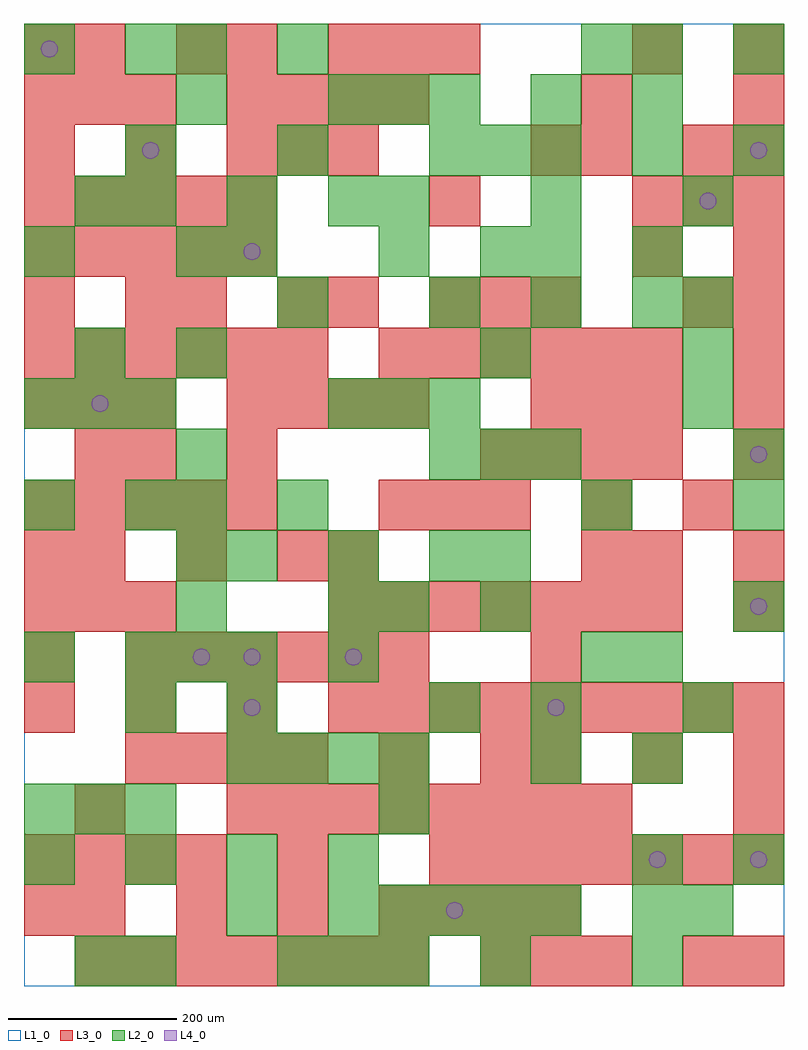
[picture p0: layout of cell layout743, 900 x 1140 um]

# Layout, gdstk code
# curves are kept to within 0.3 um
import gdstk
lib = gdstk.Library(unit=1e-6, precision=1e-09)
def R(c, l, rs):  # rectangles x0, y0, x1, y1
    for r in rs: c.add(gdstk.rectangle(r[:2], r[2:], *l))
def A(c, l, x, y, w, h, nx, ny, dx, dy):  # array of equal rectangles
    R(c, l, [(x+i*dx, y+j*dy, x+i*dx+w, y+j*dy+h) for i in range(nx) for j in range(ny)])
def P(c, l, *ps):  # polygons
    for p in ps: c.add(gdstk.Polygon(p, *l))
L1_0 = (1, 0)
L2_0 = (2, 0)
L3_0 = (3, 0)
L4_0 = (4, 0)

layout743 = lib.new_cell('layout743')
R(layout743, L1_0, [(0,0,900,1140)])
A(layout743, L2_0, 300, 0, 60, 60, 3, 1, 60, 0)
A(layout743, L2_0, 720, 0, 60, 60, 1, 3, 0, 60)
A(layout743, L2_0, 360, 60, 60, 60, 5, 1, 60, 0)
A(layout743, L2_0, 0, 120, 60, 60, 4, 1, 120, 0)
A(layout743, L2_0, 0, 180, 60, 60, 3, 2, 60, 480)
A(layout743, L2_0, 240, 240, 60, 60, 4, 1, 60, 0)
A(layout743, L2_0, 120, 360, 60, 60, 3, 1, 60, 0)
A(layout743, L2_0, 180, 420, 60, 60, 1, 4, 0, 60)
A(layout743, L2_0, 240, 480, 60, 60, 3, 1, 120, 0)
A(layout743, L2_0, 480, 600, 60, 60, 3, 1, 60, 0)
A(layout743, L2_0, 360, 660, 60, 60, 3, 2, 60, 360)
A(layout743, L2_0, 780, 660, 60, 60, 1, 3, 0, 60)
A(layout743, L2_0, 540, 720, 60, 60, 1, 3, 0, 120)
A(layout743, L2_0, 480, 780, 60, 60, 3, 1, 120, 0)
A(layout743, L2_0, 120, 900, 60, 60, 3, 1, 120, 0)
A(layout743, L2_0, 420, 900, 60, 60, 3, 1, 180, 0)
A(layout743, L2_0, 120, 960, 60, 60, 3, 1, 180, 0)
A(layout743, L2_0, 600, 960, 60, 60, 3, 1, 120, 0)
R(layout743, L2_0, [(60,0,120,60), (120,0,180,60), (540,0,600,60), (240,60,300,120), (780,60,840,120), (840,120,900,180), (420,180,480,240), (600,240,660,300), (720,240,780,300), (120,300,180,360), (240,300,300,360), (480,300,540,360), (600,300,660,360), (780,300,840,360), (0,360,60,420), (360,360,420,420), (660,360,720,420), (720,360,780,420), (360,420,420,480), (420,420,480,480), (540,420,600,480), (840,420,900,480), (540,480,600,540), (0,540,60,600), (120,540,180,600), (300,540,360,600), (660,540,720,600), (840,540,900,600), (840,600,900,660), (60,720,120,780), (180,720,240,780), (300,780,360,840), (0,840,60,900), (180,840,240,900), (240,840,300,900), (420,840,480,900), (600,840,660,900), (720,840,780,900), (60,900,120,960), (180,1020,240,1080), (600,1020,660,1080), (720,1020,780,1080), (0,1080,60,1140), (120,1080,180,1140), (180,1080,240,1140), (300,1080,360,1140), (660,1080,720,1140), (720,1080,780,1140), (840,1080,900,1140)])
A(layout743, L3_0, 60, 0, 60, 60, 7, 1, 60, 0)
A(layout743, L3_0, 540, 0, 60, 60, 3, 1, 60, 0)
A(layout743, L3_0, 60, 60, 60, 60, 4, 1, 120, 0)
A(layout743, L3_0, 480, 60, 60, 60, 3, 2, 60, 720)
A(layout743, L3_0, 0, 120, 60, 60, 4, 1, 60, 0)
A(layout743, L3_0, 480, 120, 60, 60, 7, 1, 60, 0)
A(layout743, L3_0, 240, 180, 60, 60, 8, 1, 60, 0)
A(layout743, L3_0, 120, 240, 60, 60, 4, 1, 60, 0)
A(layout743, L3_0, 600, 240, 60, 60, 3, 1, 120, 0)
A(layout743, L3_0, 0, 300, 60, 60, 4, 1, 120, 0)
A(layout743, L3_0, 420, 300, 60, 60, 8, 1, 60, 0)
A(layout743, L3_0, 120, 360, 60, 60, 6, 1, 60, 0)
A(layout743, L3_0, 0, 420, 60, 60, 3, 2, 60, 240)
A(layout743, L3_0, 360, 420, 60, 60, 7, 1, 60, 0)
A(layout743, L3_0, 0, 480, 60, 60, 1, 3, 0, 300)
A(layout743, L3_0, 60, 480, 60, 60, 3, 1, 120, 0)
A(layout743, L3_0, 0, 540, 60, 60, 5, 2, 60, 300)
A(layout743, L3_0, 420, 540, 60, 60, 3, 1, 60, 0)
A(layout743, L3_0, 540, 600, 60, 60, 4, 1, 60, 0)
A(layout743, L3_0, 840, 600, 60, 60, 1, 5, 0, 60)
A(layout743, L3_0, 240, 660, 60, 60, 4, 2, 60, 360)
A(layout743, L3_0, 600, 660, 60, 60, 3, 1, 60, 0)
A(layout743, L3_0, 0, 720, 60, 60, 6, 1, 60, 0)
A(layout743, L3_0, 420, 720, 60, 60, 6, 1, 60, 0)
A(layout743, L3_0, 0, 900, 60, 60, 5, 1, 60, 0)
A(layout743, L3_0, 720, 900, 60, 60, 3, 1, 60, 0)
A(layout743, L3_0, 0, 960, 60, 60, 3, 1, 120, 0)
A(layout743, L3_0, 840, 960, 60, 60, 1, 3, 0, 60)
A(layout743, L3_0, 0, 1020, 60, 60, 3, 1, 60, 0)
A(layout743, L3_0, 360, 1080, 60, 60, 3, 1, 60, 0)
R(layout743, L3_0, [(780,0,840,60), (840,0,900,60), (0,60,60,120), (300,120,360,180), (60,180,120,240), (840,180,900,240), (420,240,480,300), (540,240,600,300), (0,360,60,420), (600,360,660,420), (840,420,900,480), (360,480,420,540), (660,480,720,540), (720,480,780,540), (840,480,900,540), (660,540,720,600), (780,540,840,600), (60,600,120,660), (120,600,180,660), (240,600,300,660), (120,780,180,840), (180,780,240,840), (300,780,360,840), (360,780,420,840), (780,780,840,840), (720,840,780,900), (480,900,540,960), (300,960,360,1020), (360,960,420,1020), (600,960,660,1020), (660,960,720,1020), (780,960,840,1020), (660,1020,720,1080), (60,1080,120,1140), (180,1080,240,1140), (240,1080,300,1140), (720,1080,780,1140)])
P(layout743, L4_0, [(40,1110),(39.239,1113.827),(37.071,1117.071),(33.827,1119.239),(30,1120),(26.173,1119.239),(22.929,1117.071),(20.761,1113.827),(20,1110),(20.761,1106.173),(22.929,1102.929),(26.173,1100.761),(30,1100),(33.827,1100.761),(37.071,1102.929),(39.239,1106.173)],
  [(100,690),(99.239,693.827),(97.071,697.071),(93.827,699.239),(90,700),(86.173,699.239),(82.929,697.071),(80.761,693.827),(80,690),(80.761,686.173),(82.929,682.929),(86.173,680.761),(90,680),(93.827,680.761),(97.071,682.929),(99.239,686.173)],
  [(160,990),(159.239,993.827),(157.071,997.071),(153.827,999.239),(150,1000),(146.173,999.239),(142.929,997.071),(140.761,993.827),(140,990),(140.761,986.173),(142.929,982.929),(146.173,980.761),(150,980),(153.827,980.761),(157.071,982.929),(159.239,986.173)],
  [(220,390),(219.239,393.827),(217.071,397.071),(213.827,399.239),(210,400),(206.173,399.239),(202.929,397.071),(200.761,393.827),(200,390),(200.761,386.173),(202.929,382.929),(206.173,380.761),(210,380),(213.827,380.761),(217.071,382.929),(219.239,386.173)],
  [(280,330),(279.239,333.827),(277.071,337.071),(273.827,339.239),(270,340),(266.173,339.239),(262.929,337.071),(260.761,333.827),(260,330),(260.761,326.173),(262.929,322.929),(266.173,320.761),(270,320),(273.827,320.761),(277.071,322.929),(279.239,326.173)],
  [(280,390),(279.239,393.827),(277.071,397.071),(273.827,399.239),(270,400),(266.173,399.239),(262.929,397.071),(260.761,393.827),(260,390),(260.761,386.173),(262.929,382.929),(266.173,380.761),(270,380),(273.827,380.761),(277.071,382.929),(279.239,386.173)],
  [(280,870),(279.239,873.827),(277.071,877.071),(273.827,879.239),(270,880),(266.173,879.239),(262.929,877.071),(260.761,873.827),(260,870),(260.761,866.173),(262.929,862.929),(266.173,860.761),(270,860),(273.827,860.761),(277.071,862.929),(279.239,866.173)],
  [(400,390),(399.239,393.827),(397.071,397.071),(393.827,399.239),(390,400),(386.173,399.239),(382.929,397.071),(380.761,393.827),(380,390),(380.761,386.173),(382.929,382.929),(386.173,380.761),(390,380),(393.827,380.761),(397.071,382.929),(399.239,386.173)],
  [(520,90),(519.239,93.827),(517.071,97.071),(513.827,99.239),(510,100),(506.173,99.239),(502.929,97.071),(500.761,93.827),(500,90),(500.761,86.173),(502.929,82.929),(506.173,80.761),(510,80),(513.827,80.761),(517.071,82.929),(519.239,86.173)],
  [(640,330),(639.239,333.827),(637.071,337.071),(633.827,339.239),(630,340),(626.173,339.239),(622.929,337.071),(620.761,333.827),(620,330),(620.761,326.173),(622.929,322.929),(626.173,320.761),(630,320),(633.827,320.761),(637.071,322.929),(639.239,326.173)],
  [(760,150),(759.239,153.827),(757.071,157.071),(753.827,159.239),(750,160),(746.173,159.239),(742.929,157.071),(740.761,153.827),(740,150),(740.761,146.173),(742.929,142.929),(746.173,140.761),(750,140),(753.827,140.761),(757.071,142.929),(759.239,146.173)],
  [(820,930),(819.239,933.827),(817.071,937.071),(813.827,939.239),(810,940),(806.173,939.239),(802.929,937.071),(800.761,933.827),(800,930),(800.761,926.173),(802.929,922.929),(806.173,920.761),(810,920),(813.827,920.761),(817.071,922.929),(819.239,926.173)],
  [(880,150),(879.239,153.827),(877.071,157.071),(873.827,159.239),(870,160),(866.173,159.239),(862.929,157.071),(860.761,153.827),(860,150),(860.761,146.173),(862.929,142.929),(866.173,140.761),(870,140),(873.827,140.761),(877.071,142.929),(879.239,146.173)],
  [(880,450),(879.239,453.827),(877.071,457.071),(873.827,459.239),(870,460),(866.173,459.239),(862.929,457.071),(860.761,453.827),(860,450),(860.761,446.173),(862.929,442.929),(866.173,440.761),(870,440),(873.827,440.761),(877.071,442.929),(879.239,446.173)],
  [(880,630),(879.239,633.827),(877.071,637.071),(873.827,639.239),(870,640),(866.173,639.239),(862.929,637.071),(860.761,633.827),(860,630),(860.761,626.173),(862.929,622.929),(866.173,620.761),(870,620),(873.827,620.761),(877.071,622.929),(879.239,626.173)],
  [(880,990),(879.239,993.827),(877.071,997.071),(873.827,999.239),(870,1000),(866.173,999.239),(862.929,997.071),(860.761,993.827),(860,990),(860.761,986.173),(862.929,982.929),(866.173,980.761),(870,980),(873.827,980.761),(877.071,982.929),(879.239,986.173)])

lib.write_gds('layout743.gds')
